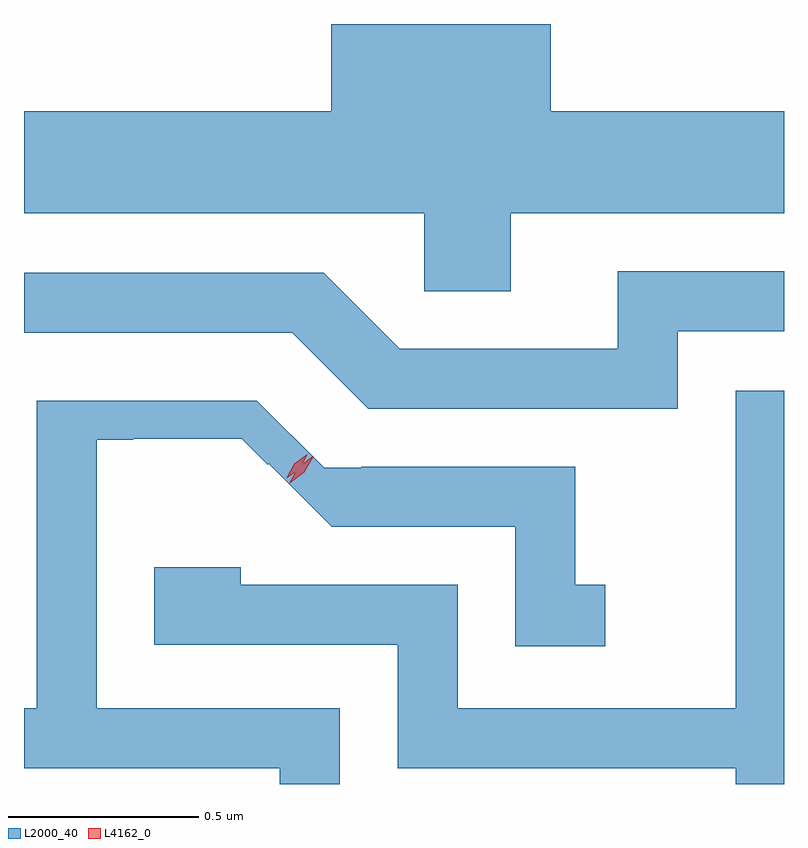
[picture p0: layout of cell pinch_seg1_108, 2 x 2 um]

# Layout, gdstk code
import gdstk
lib = gdstk.Library(unit=1e-6, precision=1e-09)
def P(c, l, *ps):  # polygons
    for p in ps: c.add(gdstk.Polygon(p, *l))
L2000_40 = (2000, 40)
L4162_0 = (4162, 0)

pinch_seg1_108 = lib.new_cell('pinch_seg1_108')
P(pinch_seg1_108, L2000_40, [(210.589,890.696),(211.308,890.696),(211.308,890.964),(210.694,890.964),(210.694,891.194),(210.116,891.194),(210.116,890.964),(209.308,890.964),(209.308,890.696),(210.361,890.696),(210.361,890.491),(210.589,890.491)],
  [(211.029,890.386),(211.308,890.386),(211.308,890.544),(210.871,890.544),(210.871,890.339),(210.297,890.339),(210.097,890.539),(209.308,890.539),(209.308,890.381),(210.014,890.381),(210.214,890.181),(211.029,890.181)],
  [(211.308,890.229),(211.181,890.229),(211.181,889.394),(210.449,889.394),(210.449,889.719),(209.879,889.719),(209.879,889.764),(209.651,889.764),(209.651,889.561),(210.291,889.561),(210.291,889.236),(211.181,889.236),(211.181,889.194),(211.308,889.194)],
  [(210.139,889.394),(209.499,889.394),(209.499,890.1),(209.595,890.1),(209.595,890.102),(209.881,890.102),(209.949,890.034),(209.952,890.037),(210.118,889.871),(210.601,889.871),(210.601,889.556),(210.838,889.556),(210.838,889.719),(210.759,889.719),(210.759,890.029),(210.195,890.029),(210.195,890.026),(210.098,890.026),(209.921,890.203),(209.341,890.203),(209.341,889.394),(209.308,889.394),(209.308,889.236),(209.981,889.236),(209.981,889.194),(210.139,889.194)])
P(pinch_seg1_108, L4162_0, [(209.999,889.999),(209.999,890),(210.019,890.037),(210.054,890.062),(210.054,890.062),(210.054,890.061),(210.034,890.024),(210,889.999)],
  [(210.006,889.985),(210.006,889.985),(210.03,890.027),(210.068,890.056),(210.069,890.056),(210.069,890.055),(210.045,890.014),(210.007,889.985)])

lib.write_gds('pinch_seg1_108.gds')
